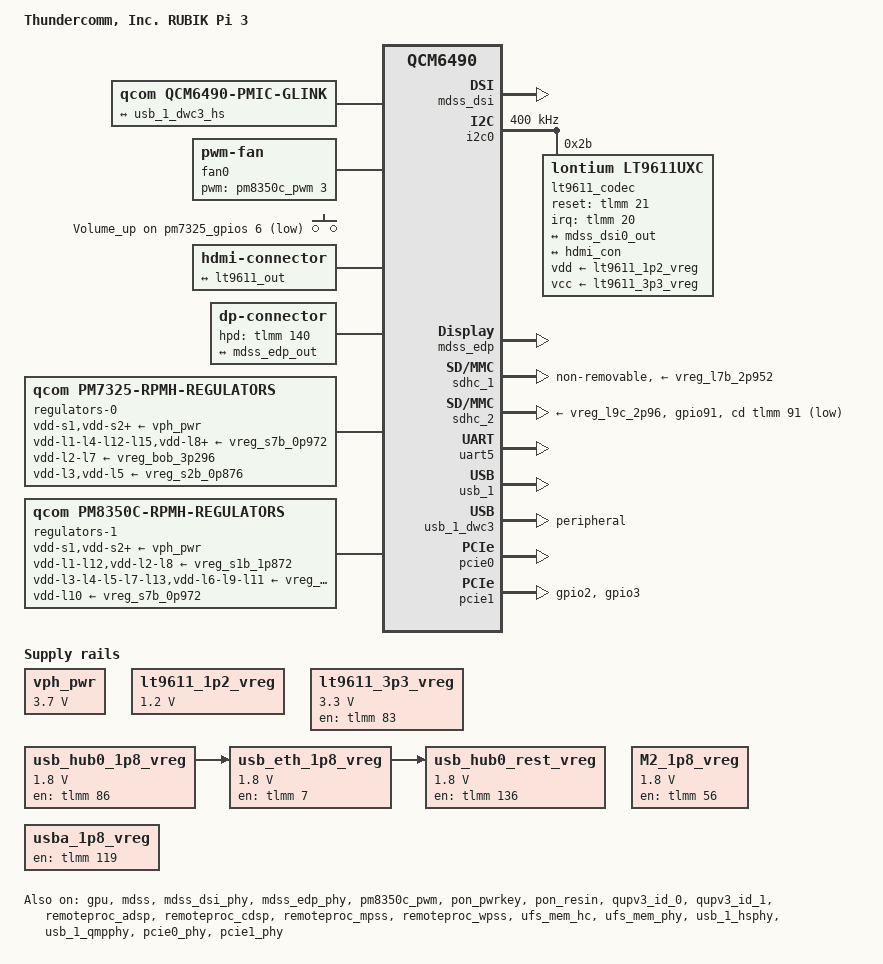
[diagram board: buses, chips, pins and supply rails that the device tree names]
// SPDX-License-Identifier: BSD-3-Clause
/*
 * Copyright (c) 2023 Qualcomm Innovation Center, Inc. All rights reserved.
 */

/dts-v1/;

/* PM7250B is configured to use SID8/9 */
#define PM7250B_SID 8
#define PM7250B_SID1 9

#include <dt-bindings/input/linux-event-codes.h>
#include <dt-bindings/leds/common.h>
#include <dt-bindings/pinctrl/qcom,pmic-gpio.h>
#include <dt-bindings/regulator/qcom,rpmh-regulator.h>
#include "sc7280.dtsi"
#include "pm7250b.dtsi"
#include "pm7325.dtsi"
#include "pm8350c.dtsi"
#include "pmk8350.dtsi"

/delete-node/ &ipa_fw_mem;
/delete-node/ &rmtfs_mem;
/delete-node/ &adsp_mem;
/delete-node/ &cdsp_mem;
/delete-node/ &video_mem;
/delete-node/ &wpss_mem;
/delete-node/ &xbl_mem;

/ {
	model = "Thundercomm, Inc. RUBIK Pi 3";
	compatible = "qcom,qcs6490-rubik-pi-3", "qcom,qcm6490";
	chassis-type = "embedded";

	aliases {
		serial0 = &uart5;
	};

	reserved-memory {
		xbl_mem: xbl@80700000 {
			reg = <0x0 0x80700000 0x0 0x100000>;
			no-map;
		};

		cdsp_secure_heap_mem: cdsp-secure-heap@81800000 {
			reg = <0x0 0x81800000 0x0 0x1e00000>;
			no-map;
		};

		camera_mem: camera@84300000 {
			reg = <0x0 0x84300000 0x0 0x500000>;
			no-map;
		};

		wpss_mem: wpss@84800000 {
			reg = <0x0 0x84800000 0x0 0x1900000>;
			no-map;
		};

		adsp_mem: adsp@86100000 {
			reg = <0x0 0x86100000 0x0 0x2800000>;
			no-map;
		};

		cdsp_mem: cdsp@88900000 {
			reg = <0x0 0x88900000 0x0 0x1e00000>;
			no-map;
		};

		video_mem: video@8a700000 {
			reg = <0x0 0x8a700000 0x0 0x700000>;
			no-map;
		};

		cvp_mem: cvp@8ae00000 {
			reg = <0x0 0x8ae00000 0x0 0x500000>;
			no-map;
		};

		ipa_fw_mem: ipa-fw@8b300000 {
			reg = <0x0 0x8b300000 0x0 0x10000>;
			no-map;
		};

		ipa_gsi_mem: ipa-gsi@8b310000 {
			reg = <0x0 0x8b310000 0x0 0xa000>;
			no-map;
		};

		gpu_microcode_mem: gpu-microcode@8b31a000 {
			reg = <0x0 0x8b31a000 0x0 0x2000>;
			no-map;
		};

		mpss_mem: mpss@8b800000 {
			reg = <0x0 0x8b800000 0x0 0xf600000>;
			no-map;
		};

		tz_stat_mem: tz-stat@c0000000 {
			reg = <0x0 0xc0000000 0x0 0x100000>;
			no-map;
		};

		tags_mem: tags@c0100000 {
			reg = <0x0 0xc0100000 0x0 0x1200000>;
			no-map;
		};

		qtee_mem: qtee@c1300000 {
			reg = <0x0 0xc1300000 0x0 0x500000>;
			no-map;
		};

		trusted_apps_mem: trusted-apps@c1800000 {
			reg = <0x0 0xc1800000 0x0 0x1c00000>;
			no-map;
		};

		debug_vm_mem: debug-vm@d0600000 {
			reg = <0x0 0xd0600000 0x0 0x100000>;
			no-map;
		};
	};

	vph_pwr: vph-pwr-regulator {
		compatible = "regulator-fixed";
		regulator-name = "vph_pwr";
		regulator-min-microvolt = <3700000>;
		regulator-max-microvolt = <3700000>;
	};

	lt9611_1p2_vreg: lt9611-1p2-vreg {
		compatible = "regulator-fixed";
		regulator-name = "lt9611_1p2_vreg";

		regulator-min-microvolt = <1200000>;
		regulator-max-microvolt = <1200000>;
	};

	lt9611_3p3_vreg: lt9611-3p3-vreg {
		compatible = "regulator-fixed";
		regulator-name = "lt9611_3p3_vreg";
		gpio = <&tlmm 83 0>;
		regulator-min-microvolt = <3300000>;
		regulator-max-microvolt = <3300000>;
		enable-active-high;
		regulator-enable-ramp-delay = <10000>;
	};

	usb_hub0_1p8_vreg: usb_hub0_1p8_vreg {
		compatible = "regulator-fixed";
		regulator-name = "usb_hub0_1p8_vreg";
		gpio = <&tlmm 86 0>;
		regulator-min-microvolt = <1800000>;
		regulator-max-microvolt = <1800000>;
		enable-active-high;
		regulator-always-on;
		regulator-enable-ramp-delay = <50000>;
	};

	usb_eth_1p8_vreg: usb_eth_1p8_vreg {
		compatible = "regulator-fixed";
		regulator-name = "usb_eth_1p8_vreg";
		gpio = <&tlmm 7 0>;
		vin-supply = <&usb_hub0_1p8_vreg>;
		regulator-min-microvolt = <1800000>;
		regulator-max-microvolt = <1800000>;
		enable-active-high;
		regulator-enable-ramp-delay = <50000>;
	};

	usb_hub0_rest_vreg: usb_hub0_rest_vreg {
		compatible = "regulator-fixed";
		regulator-name = "usb_hub0_rest_vreg";
		gpio = <&tlmm 136 0>;
		vin-supply = <&usb_eth_1p8_vreg>;
		regulator-min-microvolt = <1800000>;
		regulator-max-microvolt = <1800000>;
		enable-active-high;
		regulator-always-on;
		regulator-enable-ramp-delay = <50000>;
	};

	M2_1p8_vreg: M2_1p8_vreg {
		compatible = "regulator-fixed";
		regulator-name = "M2_1p8_vreg";
		gpio = <&tlmm 56 0>;
		regulator-min-microvolt = <1800000>;
		regulator-max-microvolt = <1800000>;
		enable-active-high;
		regulator-enable-ramp-delay = <50000>;
	};

	usba_1p8_vreg: usba_1p8_vreg {
		compatible = "regulator-fixed";
		regulator-name = "usba_1p8_vreg";
		enable-active-high;
		gpio = <&tlmm 119 GPIO_ACTIVE_HIGH>;
		regulator-enable-ramp-delay = <10000>;
	};

	pmic-glink {
		compatible = "qcom,qcm6490-pmic-glink", "qcom,pmic-glink";

		#address-cells = <1>;
		#size-cells = <0>;

		connector@0 {
			compatible = "usb-c-connector";
			reg = <0>;
			power-role = "dual";
			data-role = "dual";

			ports {
				#address-cells = <1>;
				#size-cells = <0>;

				port@0 {
					reg = <0>;

					pmic_glink_hs_in: endpoint {
						remote-endpoint = <&usb_1_dwc3_hs>;
					};
				};
			};
		};
	};

	fan0: pwm-fan {
		compatible = "pwm-fan";
		pwms = <&pm8350c_pwm 3 1000000>;
		pinctrl-names = "default";
		pinctrl-0 = <&fan_pwm_out_default>;
		#cooling-cells = <2>;
		/* level (0, 1, 2, 3, 4, 5, 6, 7) */
		cooling-levels = <160 140 120 100 80 60 40 10>;
	};

	gpio-keys {
		compatible = "gpio-keys";

		pinctrl-0 = <&key_vol_up_default>;
		pinctrl-names = "default";

		key-volume-up {
			label = "Volume_up";
			gpios = <&pm7325_gpios 6 GPIO_ACTIVE_LOW>;
			linux,code = <KEY_VOLUMEUP>;
			wakeup-source;
			debounce-interval = <15>;
			linux,can-disable;
		};
	};

	hdmi-connector {
		compatible = "hdmi-connector";
		type = "a";

		port {
			hdmi_con: endpoint {
				remote-endpoint = <&lt9611_out>;
			};
		};
	};

	dp-connector {
		compatible = "dp-connector";
		label = "DP";
		type = "type-c";

		hpd-gpios = <&tlmm 140 GPIO_ACTIVE_HIGH>;

		port {
			dp_connector_in: endpoint {
				remote-endpoint = <&mdss_edp_out>;
			};
		};
	};
};

&apps_rsc {
	regulators-0 {
		compatible = "qcom,pm7325-rpmh-regulators";
		qcom,pmic-id = "b";

		vdd-s1-supply = <&vph_pwr>;
		vdd-s2-supply = <&vph_pwr>;
		vdd-s3-supply = <&vph_pwr>;
		vdd-s4-supply = <&vph_pwr>;
		vdd-s5-supply = <&vph_pwr>;
		vdd-s6-supply = <&vph_pwr>;
		vdd-s7-supply = <&vph_pwr>;
		vdd-s8-supply = <&vph_pwr>;
		vdd-l1-l4-l12-l15-supply = <&vreg_s7b_0p972>;
		vdd-l2-l7-supply = <&vreg_bob_3p296>;
		vdd-l3-supply = <&vreg_s2b_0p876>;
		vdd-l5-supply = <&vreg_s2b_0p876>;
		vdd-l6-l9-l10-supply = <&vreg_s8b_1p272>;
		vdd-l8-supply = <&vreg_s7b_0p972>;
		vdd-l11-l17-l18-l19-supply = <&vreg_s1b_1p872>;
		vdd-l13-supply = <&vreg_s7b_0p972>;
		vdd-l14-l16-supply = <&vreg_s8b_1p272>;

		vreg_s1b_1p872: smps1 {
			regulator-name = "vreg_s1b_1p872";
			regulator-min-microvolt = <1840000>;
			regulator-max-microvolt = <2040000>;
		};

		vreg_s2b_0p876: smps2 {
			regulator-name = "vreg_s2b_0p876";
			regulator-min-microvolt = <570070>;
			regulator-max-microvolt = <1050000>;
		};

		vreg_s7b_0p972: smps7 {
			regulator-name = "vreg_s7b_0p972";
			regulator-min-microvolt = <535000>;
			regulator-max-microvolt = <1120000>;
		};

		vreg_s8b_1p272: smps8 {
			regulator-name = "vreg_s8b_1p272";
			regulator-min-microvolt = <1200000>;
			regulator-max-microvolt = <1500000>;
			regulator-initial-mode = <RPMH_REGULATOR_MODE_RET>;
		};

		vreg_l1b_0p912: ldo1 {
			regulator-name = "vreg_l1b_0p912";
			regulator-min-microvolt = <825000>;
			regulator-max-microvolt = <925000>;
			regulator-initial-mode = <RPMH_REGULATOR_MODE_HPM>;
		};

		vreg_l2b_3p072: ldo2 {
			regulator-name = "vreg_l2b_3p072";
			regulator-min-microvolt = <2700000>;
			regulator-max-microvolt = <3544000>;
			regulator-initial-mode = <RPMH_REGULATOR_MODE_HPM>;
		};

		vreg_l3b_0p504: ldo3 {
			regulator-name = "vreg_l3b_0p504";
			regulator-min-microvolt = <312000>;
			regulator-max-microvolt = <910000>;
			regulator-initial-mode = <RPMH_REGULATOR_MODE_HPM>;
		};

		vreg_l4b_0p752: ldo4 {
			regulator-name = "vreg_l4b_0p752";
			regulator-min-microvolt = <752000>;
			regulator-max-microvolt = <820000>;
			regulator-initial-mode = <RPMH_REGULATOR_MODE_HPM>;
		};

		reg_l5b_0p752: ldo5 {
			regulator-name = "reg_l5b_0p752";
			regulator-min-microvolt = <552000>;
			regulator-max-microvolt = <832000>;
			regulator-initial-mode = <RPMH_REGULATOR_MODE_HPM>;
		};

		vreg_l6b_1p2: ldo6 {
			regulator-name = "vreg_l6b_1p2";
			regulator-min-microvolt = <1140000>;
			regulator-max-microvolt = <1260000>;
			regulator-allow-set-load;
			regulator-allowed-modes = <RPMH_REGULATOR_MODE_LPM RPMH_REGULATOR_MODE_HPM>;
			regulator-initial-mode = <RPMH_REGULATOR_MODE_HPM>;
		};

		vreg_l7b_2p952: ldo7 {
			regulator-name = "vreg_l7b_2p952";
			regulator-min-microvolt = <2400000>;
			regulator-max-microvolt = <3544000>;
			regulator-allow-set-load;
			regulator-allowed-modes = <RPMH_REGULATOR_MODE_LPM RPMH_REGULATOR_MODE_HPM>;
			regulator-initial-mode = <RPMH_REGULATOR_MODE_HPM>;
		};

		vreg_l8b_0p904: ldo8 {
			regulator-name = "vreg_l8b_0p904";
			regulator-min-microvolt = <870000>;
			regulator-max-microvolt = <970000>;
			regulator-initial-mode = <RPMH_REGULATOR_MODE_HPM>;
		};

		vreg_l9b_1p2: ldo9 {
			regulator-name = "vreg_l9b_1p2";
			regulator-min-microvolt = <1200000>;
			regulator-max-microvolt = <1304000>;
			regulator-allow-set-load;
			regulator-allowed-modes = <RPMH_REGULATOR_MODE_LPM RPMH_REGULATOR_MODE_HPM>;
			regulator-initial-mode = <RPMH_REGULATOR_MODE_HPM>;
		};

		vreg_l11b_1p504: ldo11 {
			regulator-name = "vreg_l11b_1p504";
			regulator-min-microvolt = <1504000>;
			regulator-max-microvolt = <2000000>;
			regulator-initial-mode = <RPMH_REGULATOR_MODE_HPM>;
		};

		vreg_l12b_0p751: ldo12 {
			regulator-name = "vreg_l12b_0p751";
			regulator-min-microvolt = <751000>;
			regulator-max-microvolt = <824000>;
			regulator-initial-mode = <RPMH_REGULATOR_MODE_HPM>;
		};

		vreg_l13b_0p53: ldo13 {
			regulator-name = "vreg_l13b_0p53";
			regulator-min-microvolt = <530000>;
			regulator-max-microvolt = <824000>;
			regulator-initial-mode = <RPMH_REGULATOR_MODE_HPM>;
		};

		vreg_l14b_1p08: ldo14 {
			regulator-name = "vreg_l14b_1p08";
			regulator-min-microvolt = <1080000>;
			regulator-max-microvolt = <1304000>;
			regulator-initial-mode = <RPMH_REGULATOR_MODE_HPM>;
		};

		vreg_l15b_0p765: ldo15 {
			regulator-name = "vreg_l15b_0p765";
			regulator-min-microvolt = <765000>;
			regulator-max-microvolt = <1020000>;
			regulator-initial-mode = <RPMH_REGULATOR_MODE_HPM>;
		};

		vreg_l16b_1p1: ldo16 {
			regulator-name = "vreg_l16b_1p1";
			regulator-min-microvolt = <1100000>;
			regulator-max-microvolt = <1300000>;
			regulator-initial-mode = <RPMH_REGULATOR_MODE_HPM>;
		};

		vreg_l17b_1p7: ldo17 {
			regulator-name = "vreg_l17b_1p7";
			regulator-min-microvolt = <1700000>;
			regulator-max-microvolt = <1900000>;
			regulator-initial-mode = <RPMH_REGULATOR_MODE_HPM>;
		};

		vreg_l18b_1p8: ldo18 {
			regulator-name = "vreg_l18b_1p8";
			regulator-min-microvolt = <1800000>;
			regulator-max-microvolt = <2000000>;
			regulator-initial-mode = <RPMH_REGULATOR_MODE_HPM>;
		};

		vreg_l19b_1p8: ldo19 {
			regulator-name = "vreg_l19b_1p8";
			regulator-min-microvolt = <1800000>;
			regulator-max-microvolt = <2000000>;
			regulator-initial-mode = <RPMH_REGULATOR_MODE_HPM>;
			regulator-allow-set-load;
			regulator-allowed-modes = <RPMH_REGULATOR_MODE_LPM
						   RPMH_REGULATOR_MODE_HPM>;
		};
	};

	regulators-1 {
		compatible = "qcom,pm8350c-rpmh-regulators";
		qcom,pmic-id = "c";

		vdd-s1-supply = <&vph_pwr>;
		vdd-s2-supply = <&vph_pwr>;
		vdd-s3-supply = <&vph_pwr>;
		vdd-s4-supply = <&vph_pwr>;
		vdd-s5-supply = <&vph_pwr>;
		vdd-s6-supply = <&vph_pwr>;
		vdd-s7-supply = <&vph_pwr>;
		vdd-s8-supply = <&vph_pwr>;
		vdd-s9-supply = <&vph_pwr>;
		vdd-s10-supply = <&vph_pwr>;
		vdd-l1-l12-supply = <&vreg_s1b_1p872>;
		vdd-l2-l8-supply = <&vreg_s1b_1p872>;
		vdd-l3-l4-l5-l7-l13-supply = <&vreg_bob_3p296>;
		vdd-l6-l9-l11-supply = <&vreg_bob_3p296>;
		vdd-l10-supply = <&vreg_s7b_0p972>;
		vdd-bob-supply = <&vph_pwr>;

		vreg_s1c_2p19: smps1 {
			regulator-name = "vreg_s1c_2p19";
			regulator-min-microvolt = <2190000>;
			regulator-max-microvolt = <2210000>;
		};

		vreg_s2c_0p752: smps2 {
			regulator-name = "vreg_s2c_0p752";
			regulator-min-microvolt = <750000>;
			regulator-max-microvolt = <800000>;
		};

		vreg_s5c_0p752: smps5 {
			regulator-name = "vreg_s5c_0p752";
			regulator-min-microvolt = <465000>;
			regulator-max-microvolt = <1050000>;
		};

		vreg_s7c_0p752: smps7 {
			regulator-name = "vreg_s7c_0p752";
			regulator-min-microvolt = <465000>;
			regulator-max-microvolt = <800000>;
		};

		vreg_s9c_1p084: smps9 {
			regulator-name = "vreg_s9c_1p084";
			regulator-min-microvolt = <1010000>;
			regulator-max-microvolt = <1170000>;
		};

		vreg_l1c_1p8: ldo1 {
			regulator-name = "vreg_l1c_1p8";
			regulator-min-microvolt = <1800000>;
			regulator-max-microvolt = <1980000>;
			regulator-initial-mode = <RPMH_REGULATOR_MODE_HPM>;
		};

		vreg_l2c_1p62: ldo2 {
			regulator-name = "vreg_l2c_1p62";
			regulator-min-microvolt = <1620000>;
			regulator-max-microvolt = <1980000>;
			regulator-initial-mode = <RPMH_REGULATOR_MODE_HPM>;
		};

		vreg_l3c_2p8: ldo3 {
			regulator-name = "vreg_l3c_2p8";
			regulator-min-microvolt = <2800000>;
			regulator-max-microvolt = <3540000>;
			regulator-initial-mode = <RPMH_REGULATOR_MODE_HPM>;
		};

		vreg_l4c_1p62: ldo4 {
			regulator-name = "vreg_l4c_1p62";
			regulator-min-microvolt = <1620000>;
			regulator-max-microvolt = <3300000>;
			regulator-initial-mode = <RPMH_REGULATOR_MODE_HPM>;
		};

		vreg_l5c_1p62: ldo5 {
			regulator-name = "vreg_l5c_1p62";
			regulator-min-microvolt = <1620000>;
			regulator-max-microvolt = <3300000>;
			regulator-initial-mode = <RPMH_REGULATOR_MODE_HPM>;
		};

		vreg_l6c_2p96: ldo6 {
			regulator-name = "vreg_l6c_2p96";
			regulator-min-microvolt = <1650000>;
			regulator-max-microvolt = <3544000>;
			regulator-initial-mode = <RPMH_REGULATOR_MODE_HPM>;
		};

		vreg_l7c_3p0: ldo7 {
			regulator-name = "vreg_l7c_3p0";
			regulator-min-microvolt = <3000000>;
			regulator-max-microvolt = <3544000>;
			regulator-initial-mode = <RPMH_REGULATOR_MODE_HPM>;
		};

		vreg_l8c_1p62: ldo8 {
			regulator-name = "vreg_l8c_1p62";
			regulator-min-microvolt = <1620000>;
			regulator-max-microvolt = <2000000>;
			regulator-initial-mode = <RPMH_REGULATOR_MODE_HPM>;
		};

		vreg_l9c_2p96: ldo9 {
			regulator-name = "vreg_l9c_2p96";
			regulator-min-microvolt = <2700000>;
			regulator-max-microvolt = <35440000>;
			regulator-initial-mode = <RPMH_REGULATOR_MODE_HPM>;
		};

		vreg_l10c_0p88: ldo10 {
			regulator-name = "vreg_l10c_0p88";
			regulator-min-microvolt = <720000>;
			regulator-max-microvolt = <1050000>;
			regulator-allow-set-load;
			regulator-allowed-modes = <RPMH_REGULATOR_MODE_LPM RPMH_REGULATOR_MODE_HPM>;
			regulator-initial-mode = <RPMH_REGULATOR_MODE_HPM>;
		};

		vreg_l11c_2p8: ldo11 {
			regulator-name = "vreg_l11c_2p8";
			regulator-min-microvolt = <2800000>;
			regulator-max-microvolt = <3544000>;
			regulator-initial-mode = <RPMH_REGULATOR_MODE_HPM>;
		};

		vreg_l12c_1p65: ldo12 {
			regulator-name = "vreg_l12c_1p65";
			regulator-min-microvolt = <1650000>;
			regulator-max-microvolt = <2000000>;
			regulator-initial-mode = <RPMH_REGULATOR_MODE_HPM>;
		};

		vreg_l13c_2p7: ldo13 {
			regulator-name = "vreg_l13c_2p7";
			regulator-min-microvolt = <2700000>;
			regulator-max-microvolt = <3544000>;
			regulator-initial-mode = <RPMH_REGULATOR_MODE_HPM>;
		};

		vreg_bob_3p296: bob {
			regulator-name = "vreg_bob_3p296";
			regulator-min-microvolt = <3008000>;
			regulator-max-microvolt = <3960000>;
		};
	};
};

&gpu {
	status = "okay";
};

&gpu_zap_shader {
	firmware-name = "qcom/qcm6490/a660_zap.mbn";
};

&mdss {
	status = "okay";
};

&mdss_dsi {
	vdda-supply = <&vreg_l6b_1p2>;
	status = "okay";

};

&mdss_dsi0_out {
	remote-endpoint = <&lt9611_a>;
	data-lanes = <0 1 2 3>;
};

&mdss_dsi_phy {
	vdds-supply = <&vreg_l10c_0p88>;
	status = "okay";
};

&mdss_dsi_phy {
	vdds-supply = <&vreg_l10c_0p88>;
	status = "okay";
};

&i2c0 {
	clock-frequency = <400000>;
	status = "okay";

	lt9611_codec: hdmi-bridge@2b {
		compatible = "lontium,lt9611uxc";
		reg = <0x2b>;

		interrupts-extended = <&tlmm 20 IRQ_TYPE_EDGE_FALLING>;
		reset-gpios = <&tlmm 21 GPIO_ACTIVE_HIGH>;

		vdd-supply = <&lt9611_1p2_vreg>;
		vcc-supply = <&lt9611_3p3_vreg>;

		pinctrl-names = "default";
		pinctrl-0 = <&lt9611_irq_pin &lt9611_rst_pin>;

		ports {
			#address-cells = <1>;
			#size-cells = <0>;

			port@0 {
				reg = <0>;

				lt9611_a: endpoint {
					remote-endpoint = <&mdss_dsi0_out>;
				};
			};

			port@2 {
				reg = <2>;

				lt9611_out: endpoint {
					remote-endpoint = <&hdmi_con>;
				};
			};
		};
	};
};

&mdss_edp {
	status = "okay";
};

&mdss_edp_out {
	data-lanes = <0 1 2 3>;
	link-frequencies = /bits/ 64 <1620000000 2700000000 5400000000 8100000000>;

	remote-endpoint = <&dp_connector_in>;
};

&mdss_edp_phy {
	status = "okay";
};

&pm8350c_gpios {
	fan_pwm_out_default: fan_pwm_out_default {
		pins = "gpio8";
		function = "func1";
		power-source = <1>;
		drive-push-pull;
		output-high;
		qcom,drive-strength = <3>;
	};
};

&pm7325_gpios {
	key_vol_up_default: key-vol-up-state {
		pins = "gpio6";
		function = "normal";
		input-enable;
		bias-pull-up;
		qcom,drive-strength = <PMIC_GPIO_STRENGTH_LOW>;
	};
};

&pm8350c_pwm {
	status = "okay";

	multi-led {
		color = <LED_COLOR_ID_RGB>;
		function = LED_FUNCTION_STATUS;

		#address-cells = <1>;
		#size-cells = <0>;

		led@1 {
			reg = <1>;
			color = <LED_COLOR_ID_RED>;
		};

		led@2 {
			reg = <2>;
			color = <LED_COLOR_ID_GREEN>;
		};

		led@3 {
			reg = <3>;
			color = <LED_COLOR_ID_BLUE>;
		};
	};
};

&thermal_zones {
	cpu0-thermal {
		trips {
			cpu0_alert1: trip-point1 {
			temperature = <95000>;
			hysteresis = <2000>;
			type = "hot";
			};

			cpu0_fan0: trip-point2 {
			temperature = <50000>;
			hysteresis = <2000>;
			type = "active";
			};

			cpu0_fan1: trip-point3 {
			temperature = <55000>;
			hysteresis = <2000>;
			type = "active";
			};

			cpu0_fan2: trip-point4 {
			temperature = <60000>;
			hysteresis = <2000>;
			type = "active";
			};

			cpu0_fan3: trip-point5 {
			temperature = <65000>;
			hysteresis = <2000>;
			type = "active";
			};

			cpu0_fan4: trip-point6 {
			temperature = <70000>;
			hysteresis = <2000>;
			type = "active";
			};

			cpu0_fan5: trip-point7 {
			temperature = <75000>;
			hysteresis = <2000>;
			type = "active";
			};

			cpu0_fan6: trip-point8 {
			temperature = <80000>;
			hysteresis = <2000>;
			type = "active";
			};
		};

		cooling-maps {
			map0 {
			trip = <&cpu0_fan0>;
			cooling-device = <&fan0 0 1>;
			};
			map1 {
			trip = <&cpu0_fan1>;
			cooling-device = <&fan0 1 2>;
			};
			map2 {
			trip = <&cpu0_fan2>;
			cooling-device = <&fan0 2 3>;
			};
			map3 {
			trip = <&cpu0_fan3>;
			cooling-device = <&fan0 3 4>;
			};
			map4 {
			trip = <&cpu0_fan4>;
			cooling-device = <&fan0 4 5>;
			};
			map5 {
			trip = <&cpu0_fan5>;
			cooling-device = <&fan0 5 6>;
			};
			map6 {
			trip = <&cpu0_fan6>;
			cooling-device = <&fan0 6 7>;
			};
		};
	};

	cpu1-thermal {
		trips {
			cpu1_alert1: trip-point1 {
			temperature = <95000>;
			hysteresis = <2000>;
			type = "hot";
			};

			cpu1_fan0: trip-point2 {
			temperature = <50000>;
			hysteresis = <2000>;
			type = "active";
			};

			cpu1_fan1: trip-point3 {
			temperature = <55000>;
			hysteresis = <2000>;
			type = "active";
			};

			cpu1_fan2: trip-point4 {
			temperature = <60000>;
			hysteresis = <2000>;
			type = "active";
			};

			cpu1_fan3: trip-point5 {
			temperature = <65000>;
			hysteresis = <2000>;
			type = "active";
			};

			cpu1_fan4: trip-point6 {
			temperature = <70000>;
			hysteresis = <2000>;
			type = "active";
			};

			cpu1_fan5: trip-point7 {
			temperature = <75000>;
			hysteresis = <2000>;
			type = "active";
			};

			cpu1_fan6: trip-point8 {
			temperature = <80000>;
			hysteresis = <2000>;
			type = "active";
			};
		};

		cooling-maps {
			map0 {
			trip = <&cpu1_fan0>;
			cooling-device = <&fan0 0 1>;
			};
			map1 {
			trip = <&cpu1_fan1>;
			cooling-device = <&fan0 1 2>;
			};
			map2 {
			trip = <&cpu1_fan2>;
			cooling-device = <&fan0 2 3>;
			};
			map3 {
			trip = <&cpu1_fan3>;
			cooling-device = <&fan0 3 4>;
			};
			map4 {
			trip = <&cpu1_fan4>;
			cooling-device = <&fan0 4 5>;
			};
			map5 {
			trip = <&cpu1_fan5>;
			cooling-device = <&fan0 5 6>;
			};
			map6 {
			trip = <&cpu1_fan6>;
			cooling-device = <&fan0 6 7>;
			};
		};
	};

	cpu2-thermal {
		trips {
			cpu2_alert1: trip-point1 {
			temperature = <95000>;
			hysteresis = <2000>;
			type = "hot";
			};

			cpu2_fan0: trip-point2 {
			temperature = <50000>;
			hysteresis = <2000>;
			type = "active";
			};

			cpu2_fan1: trip-point3 {
			temperature = <55000>;
			hysteresis = <2000>;
			type = "active";
			};

			cpu2_fan2: trip-point4 {
			temperature = <60000>;
			hysteresis = <2000>;
			type = "active";
			};

			cpu2_fan3: trip-point5 {
			temperature = <65000>;
			hysteresis = <2000>;
			type = "active";
			};

			cpu2_fan4: trip-point6 {
			temperature = <70000>;
			hysteresis = <2000>;
			type = "active";
			};

			cpu2_fan5: trip-point7 {
			temperature = <75000>;
			hysteresis = <2000>;
			type = "active";
			};

			cpu2_fan6: trip-point8 {
			temperature = <80000>;
			hysteresis = <2000>;
			type = "active";
			};
		};

		cooling-maps {
			map0 {
			trip = <&cpu2_fan0>;
			cooling-device = <&fan0 0 1>;
			};
			map1 {
			trip = <&cpu2_fan1>;
			cooling-device = <&fan0 1 2>;
			};
			map2 {
			trip = <&cpu2_fan2>;
			cooling-device = <&fan0 2 3>;
			};
			map3 {
			trip = <&cpu2_fan3>;
			cooling-device = <&fan0 3 4>;
			};
			map4 {
			trip = <&cpu2_fan4>;
			cooling-device = <&fan0 4 5>;
			};
			map5 {
			trip = <&cpu2_fan5>;
			cooling-device = <&fan0 5 6>;
			};
			map6 {
			trip = <&cpu2_fan6>;
			cooling-device = <&fan0 6 7>;
			};
		};
	};

	cpu3-thermal {
		trips {
			cpu3_alert1: trip-point1 {
			temperature = <95000>;
			hysteresis = <2000>;
			type = "hot";
			};

			cpu3_fan0: trip-point2 {
			temperature = <50000>;
			hysteresis = <2000>;
			type = "active";
			};

			cpu3_fan1: trip-point3 {
			temperature = <55000>;
			hysteresis = <2000>;
			type = "active";
			};

			cpu3_fan2: trip-point4 {
			temperature = <60000>;
			hysteresis = <2000>;
			type = "active";
			};

			cpu3_fan3: trip-point5 {
			temperature = <65000>;
			hysteresis = <2000>;
			type = "active";
			};

			cpu3_fan4: trip-point6 {
			temperature = <70000>;
			hysteresis = <2000>;
			type = "active";
			};

			cpu3_fan5: trip-point7 {
			temperature = <75000>;
			hysteresis = <2000>;
			type = "active";
			};

			cpu3_fan6: trip-point8 {
			temperature = <80000>;
			hysteresis = <2000>;
			type = "active";
			};
		};

		cooling-maps {
			map0 {
			trip = <&cpu3_fan0>;
			cooling-device = <&fan0 0 1>;
			};
			map1 {
			trip = <&cpu3_fan1>;
			cooling-device = <&fan0 1 2>;
			};
			map2 {
			trip = <&cpu3_fan2>;
			cooling-device = <&fan0 2 3>;
			};
			map3 {
			trip = <&cpu3_fan3>;
			cooling-device = <&fan0 3 4>;
			};
			map4 {
			trip = <&cpu3_fan4>;
			cooling-device = <&fan0 4 5>;
			};
			map5 {
			trip = <&cpu3_fan5>;
			cooling-device = <&fan0 5 6>;
			};
			map6 {
			trip = <&cpu3_fan6>;
			cooling-device = <&fan0 6 7>;
			};
		};
	};

	cpu4-thermal {
		trips {
			cpu4_alert1: trip-point1 {
			temperature = <95000>;
			hysteresis = <2000>;
			type = "hot";
			};

			cpu4_fan0: trip-point2 {
			temperature = <50000>;
			hysteresis = <2000>;
			type = "active";
			};

			cpu4_fan1: trip-point3 {
			temperature = <55000>;
			hysteresis = <2000>;
			type = "active";
			};

			cpu4_fan2: trip-point4 {
			temperature = <60000>;
			hysteresis = <2000>;
			type = "active";
			};

			cpu4_fan3: trip-point5 {
			temperature = <65000>;
			hysteresis = <2000>;
			type = "active";
			};

			cpu4_fan4: trip-point6 {
			temperature = <70000>;
			hysteresis = <2000>;
			type = "active";
			};

			cpu4_fan5: trip-point7 {
			temperature = <75000>;
			hysteresis = <2000>;
			type = "active";
			};

			cpu4_fan6: trip-point8 {
			temperature = <80000>;
			hysteresis = <2000>;
			type = "active";
			};
		};

		cooling-maps {
			map0 {
			trip = <&cpu4_fan0>;
			cooling-device = <&fan0 0 1>;
			};
			map1 {
			trip = <&cpu4_fan1>;
			cooling-device = <&fan0 1 2>;
			};
			map2 {
			trip = <&cpu4_fan2>;
			cooling-device = <&fan0 2 3>;
			};
			map3 {
			trip = <&cpu4_fan3>;
			cooling-device = <&fan0 3 4>;
			};
			map4 {
			trip = <&cpu4_fan4>;
			cooling-device = <&fan0 4 5>;
			};
			map5 {
			trip = <&cpu4_fan5>;
			cooling-device = <&fan0 5 6>;
			};
			map6 {
			trip = <&cpu4_fan6>;
			cooling-device = <&fan0 6 7>;
			};
		};
	};

	cpu5-thermal {
		trips {
			cpu5_alert1: trip-point1 {
			temperature = <95000>;
			hysteresis = <2000>;
			type = "hot";
			};

			cpu5_fan0: trip-point2 {
			temperature = <50000>;
			hysteresis = <2000>;
			type = "active";
			};

			cpu5_fan1: trip-point3 {
			temperature = <55000>;
			hysteresis = <2000>;
			type = "active";
			};

			cpu5_fan2: trip-point4 {
			temperature = <60000>;
			hysteresis = <2000>;
			type = "active";
			};

			cpu5_fan3: trip-point5 {
			temperature = <65000>;
			hysteresis = <2000>;
			type = "active";
			};

			cpu5_fan4: trip-point6 {
			temperature = <70000>;
			hysteresis = <2000>;
			type = "active";
			};

			cpu5_fan5: trip-point7 {
			temperature = <75000>;
			hysteresis = <2000>;
			type = "active";
			};

			cpu5_fan6: trip-point8 {
			temperature = <80000>;
			hysteresis = <2000>;
			type = "active";
			};
		};

		cooling-maps {
			map0 {
			trip = <&cpu5_fan0>;
			cooling-device = <&fan0 0 1>;
			};
			map1 {
			trip = <&cpu5_fan1>;
			cooling-device = <&fan0 1 2>;
			};
			map2 {
			trip = <&cpu5_fan2>;
			cooling-device = <&fan0 2 3>;
			};
			map3 {
			trip = <&cpu5_fan3>;
			cooling-device = <&fan0 3 4>;
			};
			map4 {
			trip = <&cpu5_fan4>;
			cooling-device = <&fan0 4 5>;
			};
			map5 {
			trip = <&cpu5_fan5>;
			cooling-device = <&fan0 5 6>;
			};
			map6 {
			trip = <&cpu5_fan6>;
			cooling-device = <&fan0 6 7>;
			};
		};
	};

	cpu6-thermal {
		trips {
			cpu6_alert1: trip-point1 {
			temperature = <95000>;
			hysteresis = <2000>;
			type = "hot";
			};

			cpu6_fan0: trip-point2 {
			temperature = <50000>;
			hysteresis = <2000>;
			type = "active";
			};

			cpu6_fan1: trip-point3 {
			temperature = <55000>;
			hysteresis = <2000>;
			type = "active";
			};

			cpu6_fan2: trip-point4 {
			temperature = <60000>;
			hysteresis = <2000>;
			type = "active";
			};

			cpu6_fan3: trip-point5 {
			temperature = <65000>;
			hysteresis = <2000>;
			type = "active";
			};

			cpu6_fan4: trip-point6 {
			temperature = <70000>;
			hysteresis = <2000>;
			type = "active";
			};

			cpu6_fan5: trip-point7 {
			temperature = <75000>;
			hysteresis = <2000>;
			type = "active";
			};

			cpu6_fan6: trip-point8 {
			temperature = <80000>;
			hysteresis = <2000>;
			type = "active";
			};
		};

		cooling-maps {
			map0 {
			trip = <&cpu6_fan0>;
			cooling-device = <&fan0 0 1>;
			};
			map1 {
			trip = <&cpu6_fan1>;
			cooling-device = <&fan0 1 2>;
			};
			map2 {
			trip = <&cpu6_fan2>;
			cooling-device = <&fan0 2 3>;
			};
			map3 {
			trip = <&cpu6_fan3>;
			cooling-device = <&fan0 3 4>;
			};
			map4 {
			trip = <&cpu6_fan4>;
			cooling-device = <&fan0 4 5>;
			};
			map5 {
			trip = <&cpu6_fan5>;
			cooling-device = <&fan0 5 6>;
			};
			map6 {
			trip = <&cpu6_fan6>;
			cooling-device = <&fan0 6 7>;
			};
		};
	};

	cpu7-thermal {
		trips {
			cpu7_alert1: trip-point1 {
			temperature = <95000>;
			hysteresis = <2000>;
			type = "hot";
			};

			cpu7_fan0: trip-point2 {
			temperature = <50000>;
			hysteresis = <2000>;
			type = "active";
			};

			cpu7_fan1: trip-point3 {
			temperature = <55000>;
			hysteresis = <2000>;
			type = "active";
			};

			cpu7_fan2: trip-point4 {
			temperature = <60000>;
			hysteresis = <2000>;
			type = "active";
			};

			cpu7_fan3: trip-point5 {
			temperature = <65000>;
			hysteresis = <2000>;
			type = "active";
			};

			cpu7_fan4: trip-point6 {
			temperature = <70000>;
			hysteresis = <2000>;
			type = "active";
			};

			cpu7_fan5: trip-point7 {
			temperature = <75000>;
			hysteresis = <2000>;
			type = "active";
			};

			cpu7_fan6: trip-point8 {
			temperature = <80000>;
			hysteresis = <2000>;
			type = "active";
			};
		};

		cooling-maps {
			map0 {
			trip = <&cpu7_fan0>;
			cooling-device = <&fan0 0 1>;
			};
			map1 {
			trip = <&cpu7_fan1>;
			cooling-device = <&fan0 1 2>;
			};
			map2 {
			trip = <&cpu7_fan2>;
			cooling-device = <&fan0 2 3>;
			};
			map3 {
			trip = <&cpu7_fan3>;
			cooling-device = <&fan0 3 4>;
			};
			map4 {
			trip = <&cpu7_fan4>;
			cooling-device = <&fan0 4 5>;
			};
			map5 {
			trip = <&cpu7_fan5>;
			cooling-device = <&fan0 5 6>;
			};
			map6 {
			trip = <&cpu7_fan6>;
			cooling-device = <&fan0 6 7>;
			};
		};
	};
};

&pon_pwrkey {
	status = "okay";
};

&pon_resin {
	linux,code = <KEY_VOLUMEDOWN>;
	status = "okay";
};

&qupv3_id_0 {
	status = "okay";
};

&qupv3_id_1 {
	status = "okay";
};

&remoteproc_adsp {
	firmware-name = "qcom/qcm6490/adsp.mbn";
	status = "okay";
};

&remoteproc_cdsp {
	firmware-name = "qcom/qcm6490/cdsp.mbn";
	status = "okay";
};

&remoteproc_mpss {
	firmware-name = "qcom/qcm6490/modem.mbn";
	status = "okay";
};

&remoteproc_wpss {
	firmware-name = "qcom/qcm6490/wpss.mbn";
	status = "okay";
};

&sdc2_clk {
	bias-disable;
	drive-strength = <16>;
};

&sdc2_cmd {
	bias-pull-up;
	drive-strength = <10>;
};

&sdc2_data {
	bias-pull-up;
	drive-strength = <10>;
};

&sdhc_1 {
	non-removable;
	no-sd;
	no-sdio;

	vmmc-supply = <&vreg_l7b_2p952>;
	vqmmc-supply = <&vreg_l19b_1p8>;

	status = "okay";
};

&sdhc_2 {
	status = "okay";

	pinctrl-0 = <&sdc2_clk>, <&sdc2_cmd>, <&sdc2_data>, <&sd_cd>;
	pinctrl-1 = <&sdc2_clk_sleep>, <&sdc2_cmd_sleep>, <&sdc2_data_sleep>, <&sd_cd>;

	vmmc-supply = <&vreg_l9c_2p96>;
	vqmmc-supply = <&vreg_l6c_2p96>;

	cd-gpios = <&tlmm 91 GPIO_ACTIVE_LOW>;
};

&tlmm {
	/delete-property/ gpio-reserved-ranges;

	gpio4_active: gpio4_active {
		pins = "gpio4";
		function = "gpio";
		drive-strength = <2>;
		bias-disable;
	};

	gpio5_active: gpio5_active {
		pins = "gpio5";
		function = "gpio";
		drive-strength = <2>;
		bias-disable;
	};

	gpio8_active: gpio8_active {
		pins = "gpio8";
		function = "gpio";
		drive-strength = <2>;
		bias-disable;
	};

	gpio9_active: gpio9_active {
		pins = "gpio9";
		function = "gpio";
		drive-strength = <2>;
		bias-disable;
	};

	gpio10_active: gpio10_active {
		pins = "gpio10";
		function = "gpio";
		drive-strength = <2>;
		bias-disable;
	};

	gpio11_active: gpio11_active {
		pins = "gpio11";
		function = "gpio";
		drive-strength = <2>;
		bias-disable;
	};

	qup_uart2_rx: qup-uart2-rx-state {
		pins = "gpio11";
		function = "qup02";
		bias-disable;
	};

	gpio12_active: gpio12_active {
		pins = "gpio12";
		function = "gpio";
		drive-strength = <2>;
		bias-disable;
	};

	wifi_reset_active: wifi_reset_active {
		pins = "gpio16";
		function = "gpio";
		drive-strength = <2>;
		output-high;
		bias-disable;
	};

	lt9611_irq_pin: lt9611-irq-state {
		pins = "gpio20";
		function = "gpio";
		drive-strength = <2>;
		bias-disable;
	};

	lt9611_rst_pin: lt9611-rst-state {
		pins = "gpio21";
		function = "gpio";
		drive-strength = <2>;
		bias-disable;
		output-high;
	};

	gpio24_active: gpio24_active {
		pins = "gpio24";
		function = "gpio";
		drive-strength = <2>;
		bias-disable;
	};

	gpio25_active: gpio25_active {
		pins = "gpio25";
		function = "gpio";
		drive-strength = <2>;
		bias-disable;
	};

	gpio24_active: gpio24_active {
		pins = "gpio24";
		function = "gpio";
		drive-strength = <2>;
		bias-disable;
	};

	gpio25_active: gpio25_active {
		pins = "gpio25";
		function = "gpio";
		drive-strength = <2>;
		bias-disable;
	};

	gpio26_active: gpio26_active {
		pins = "gpio26";
		function = "gpio";
		drive-strength = <2>;
		bias-disable;
	};

	gpio27_active: gpio27_active {
		pins = "gpio27";
		function = "gpio";
		drive-strength = <2>;
		bias-disable;
	};

	gpio32_active: gpio32_active {
		pins = "gpio32";
		function = "gpio";
		drive-strength = <2>;
		bias-disable;
	};

	gpio33_active: gpio33_active {
		pins = "gpio33";
		function = "gpio";
		drive-strength = <2>;
		bias-disable;
	};

	gpio34_active: gpio34_active {
		pins = "gpio34";
		function = "gpio";
		drive-strength = <2>;
		bias-disable;
	};

	gpio35_active: gpio35_active {
		pins = "gpio35";
		function = "gpio";
		drive-strength = <2>;
		bias-disable;
	};

	gpio44_active: gpio44_active {
		pins = "gpio44";
		function = "gpio";
		drive-strength = <2>;
		bias-disable;
	};

	gpio48_active: gpio48_active {
		pins = "gpio48";
		function = "gpio";
		drive-strength = <2>;
		bias-disable;
	};

	gpio49_active: gpio49_active {
		pins = "gpio49";
		function = "gpio";
		drive-strength = <2>;
		bias-disable;
	};

	gpio50_active: gpio50_active {
		pins = "gpio50";
		function = "gpio";
		drive-strength = <2>;
		bias-disable;
	};

	gpio51_active: gpio51_active {
		pins = "gpio51";
		function = "gpio";
		drive-strength = <2>;
		bias-disable;
	};

	gpio55_active: gpio55_active {
		pins = "gpio55";
		function = "gpio";
		drive-strength = <2>;
		bias-disable;
	};

	sd_cd: sd-cd-state {
		pins = "gpio91";
		function = "gpio";
		bias-pull-up;
	};

	gpio101_active: gpio101_active {
		pins = "gpio101";
		function = "gpio";
		drive-strength = <2>;
		bias-disable;
	};

	gpio102_active: gpio102_active {
		pins = "gpio102";
		function = "gpio";
		drive-strength = <2>;
		bias-disable;
	};

	gpio103_active: gpio103_active {
		pins = "gpio103";
		function = "gpio";
		drive-strength = <2>;
		bias-disable;
	};

	gpio104_active: gpio104_active {
		pins = "gpio104";
		function = "gpio";
		drive-strength = <2>;
		bias-disable;
	};

	gpio105_active: gpio105_active {
		pins = "gpio105";
		function = "gpio";
		drive-strength = <2>;
		bias-disable;
	};

	pcie1_wake_n: pcie1-wake-n-state {
		pins = "gpio3";
		function = "gpio";
		drive-strength = <2>;
		bias-pull-up;
	};

	pcie1_clkreq_n: pcie1-clkreq-n-state {
		pins = "gpio79";
		function = "pcie1_clkreqn";
		drive-strength = <2>;
		bias-pull-up;
	};

	pcie1_reset_n: pcie1-reset-n-state {
		pins = "gpio2";
		function = "gpio";
		drive-strength = <16>;
		output-high;
		bias-disable;
	};

	mi2s2_data0: mi2s2-data0-state {
		pins = "gpio102";
		function = "mi2s2_data0";
	};

	mi2s2_data1: mi2s2-data1-state {
		pins = "gpio104";
		function = "mi2s2_data1";
	};

	mi2s2_sclk: mi2s2-sclk-state {
		pins = "gpio101";
		function = "mi2s2_sck";
	};

	mi2s2_ws: mi2s2-ws-state {
		pins = "gpio103";
		function = "mi2s2_ws";
	};

	mi2s2_data0_sleep: mi2s2-data0-sleep {
		pins = "gpio102";
		function = "gpio";
		drive-strength = <2>;
		bias-pull-down;
		input-enable;
	};

	mi2s2_data1_sleep: mi2s2-data1-sleep {
		pins = "gpio104";
		function = "gpio";
		drive-strength = <2>;
		bias-pull-down;
		input-enable;
	};

	mi2s2_sclk_sleep: mi2s2-sclk-sleep {
		pins = "gpio101";
		function = "gpio";
		drive-strength = <2>;
		bias-pull-down;
		input-enable;
	};

	mi2s2_ws_sleep: mi2s2-ws-sleep {
		pins = "gpio103";
		function = "gpio";
		drive-strength = <2>;
		bias-pull-down;
		input-enable;
	};

	mi2s1_data0_sleep: mi2s1-data0-sleep {
		pins = "gpio107";
		function = "gpio";
		drive-strength = <2>;
		bias-pull-down;
		input-enable;
	};

	mi2s1_data1_sleep: mi2s1-data1-sleep {
		pins = "gpio105";
		function = "gpio";
		drive-strength = <2>;
		bias-pull-down;
		input-enable;
	};

	mi2s1_sclk_sleep: mi2s1-sclk-sleep {
		pins = "gpio106";
		function = "gpio";
		drive-strength = <2>;
		bias-pull-down;
		input-enable;
	};

	mi2s1_ws_sleep: mi2s1-ws-sleep {
		pins = "gpio108";
		function = "gpio";
		drive-strength = <2>;
		bias-pull-down;
		input-enable;
	};

	mi2s1_data0: mi2s1-data0-state {
		pins = "gpio107";
		function = "mi2s1_data0";
	};

	mi2s1_data1: mi2s1-data1-state {
		pins = "gpio105";
		function = "mi2s1_data1";
	};

	mi2s1_sclk: mi2s1-sclk-state {
		pins = "gpio106";
		function = "mi2s1_sck";
	};

	mi2s1_ws: mi2s1-ws-state {
		pins = "gpio108";
		function = "mi2s1_ws";
	};

	io_level_selection_3v3: io_level_selection_3v3 {
		pins = "gpio14";
		function = "gpio";
		drive-strength = <2>;
		output-high;
		bias-disable;
	};

	io_level_selection_5v0: io_level_selection_5v0 {
		pins = "gpio40";
		function = "gpio";
		drive-strength = <2>;
		output-high;
		bias-disable;
	};
};

&lpass_tlmm {
	/delete-node/ dmic45-data-state;
	/delete-node/ dmic45-clk-state;

	lpass_ext_mas_clk1_a: ext-master-clk1-a-state {
		pins = "gpio13";
		function = "ext_mas_clk1_a";
	};

	lpass_ext_mas_clk1_a_sleep: ext-master-clk1-a-sleep {
		pins = "gpio13";
		function = "ext_mas_clk1_a";
		drive-strength = <2>;
		bias-pull-down;
		input-enable;
	};

	lpass_qua_mi2s_sclk: qua-mi2s-sclk-state {
		pins = "gpio0";
		function = "qua_mi2s_sclk";
	};

	lpass_qua_mi2s_sclk_sleep: qua-mi2s-sclk-sleep {
		pins = "gpio0";
		function = "qua_mi2s_sclk";
		drive-strength = <2>;
		bias-pull-down;
		input-enable;
	};

	lpass_qua_mi2s_ws: qua-mi2s-ws-state {
		pins = "gpio1";
		function = "qua_mi2s_ws";
	};

	lpass_qua_mi2s_ws_sleep: qua-mi2s-ws-sleep {
		pins = "gpio1";
		function = "qua_mi2s_ws";
		drive-strength = <2>;
		bias-pull-down;
		input-enable;
	};

	lpass_qua_mi2s_data0: qua-mi2s-data0-state {
		pins = "gpio2";
		function = "qua_mi2s_data";
	};

	lpass_qua_mi2s_data0_sleep: qua-mi2s-data0-sleep {
		pins = "gpio2";
		function = "qua_mi2s_data";
		drive-strength = <2>;
		bias-pull-down;
		input-enable;
	};

	lpass_qua_mi2s_data1: qua-mi2s-data1-state {
		pins = "gpio3";
		function = "qua_mi2s_data";
	};

	lpass_qua_mi2s_data1_sleep: qua-mi2s-data1-sleep {
		pins = "gpio3";
		function = "qua_mi2s_data";
		drive-strength = <2>;
		bias-pull-down;
		input-enable;
	};

	lpass_qua_mi2s_data2: qua-mi2s-data2-state {
		pins = "gpio4";
		function = "qua_mi2s_data";
	};

	lpass_qua_mi2s_data2_sleep: qua-mi2s-data2-sleep {
		pins = "gpio4";
		function = "qua_mi2s_data";
		drive-strength = <2>;
		bias-pull-down;
		input-enable;
	};

	lpass_qua_mi2s_data3: qua-mi2s-data3-state {
		pins = "gpio5";
		function = "qua_mi2s_data";
	};

	lpass_qua_mi2s_data3_sleep: qua-mi2s-data3-sleep {
		pins = "gpio5";
		function = "qua_mi2s_data";
		drive-strength = <2>;
		bias-pull-down;
		input-enable;
	};

	lpass_lpi_i2s1_clk: lpi-i2s1-clk-state {
		pins = "gpio6";
		function = "i2s1_clk";
	};

	lpass_lpi_i2s1_ws: lpi-i2s1-ws-state {
		pins = "gpio7";
		function = "i2s1_ws";
	};

	lpass_lpi_i2s1_data0: lpi-i2s1-data0-state {
		pins = "gpio8";
		function = "i2s1_data";
	};

	lpass_lpi_i2s1_data1: lpi-i2s1-data1-state {
		pins = "gpio9";
		function = "i2s1_data";
	};

	lpass_lpi_i2s1_clk_sleep: lpi-i2s1-clk-sleep {
		pins = "gpio6";
		function = "i2s1_clk";
		drive-strength = <2>;
		bias-pull-down;
		input-enable;
	};

	lpass_lpi_i2s1_ws_sleep: lpi-i2s1-ws-sleep {
		pins = "gpio7";
		function = "i2s1_ws";
		drive-strength = <2>;
		bias-pull-down;
		input-enable;
	};

	lpass_lpi_i2s1_data0_sleep: lpi-i2s1-data0-sleep {
		pins = "gpio8";
		function = "i2s1_data";
		drive-strength = <2>;
		bias-pull-down;
		input-enable;
	};

	lpass_lpi_i2s1_data1_sleep: lpi-i2s1-data1-sleep {
		pins = "gpio9";
		function = "i2s1_data";
		drive-strength = <2>;
		bias-pull-down;
		input-enable;
	};
};

&gcc {
	protected-clocks = <GCC_CFG_NOC_LPASS_CLK>,
			   <GCC_MSS_CFG_AHB_CLK>,
			   <GCC_MSS_GPLL0_MAIN_DIV_CLK_SRC>,
			   <GCC_MSS_OFFLINE_AXI_CLK>,
			   <GCC_MSS_Q6SS_BOOT_CLK_SRC>,
			   <GCC_MSS_Q6_MEMNOC_AXI_CLK>,
			   <GCC_MSS_SNOC_AXI_CLK>,
			   <GCC_QSPI_CNOC_PERIPH_AHB_CLK>,
			   <GCC_QSPI_CORE_CLK>,
			   <GCC_QSPI_CORE_CLK_SRC>,
			   <GCC_SEC_CTRL_CLK_SRC>,
			   <GCC_WPSS_AHB_BDG_MST_CLK>,
			   <GCC_WPSS_AHB_CLK>,
			   <GCC_WPSS_RSCP_CLK>;
};

&uart5 {
	status = "okay";
};

&ufs_mem_hc {
	reset-gpios = <&tlmm 175 GPIO_ACTIVE_LOW>;
	vcc-supply = <&vreg_l7b_2p952>;
	vcc-max-microamp = <800000>;
	vccq-supply = <&vreg_l9b_1p2>;
	vccq-max-microamp = <900000>;
	vccq2-supply = <&vreg_l9b_1p2>;
	vccq2-max-microamp = <900000>;

	status = "okay";
};

&ufs_mem_phy {
	vdda-phy-supply = <&vreg_l10c_0p88>;
	vdda-pll-supply = <&vreg_l6b_1p2>;

	status = "okay";
};

&usb_1 {
	status = "okay";
};

&usb_1_dwc3 {
	/delete-property/ usb-role-switch;
	dr_mode = "peripheral";
};

&usb_1_hsphy {
	vdda-pll-supply = <&vreg_l10c_0p88>;
	vdda33-supply = <&vreg_l2b_3p072>;
	vdda18-supply = <&vreg_l1c_1p8>;

	status = "okay";
};

&usb_1_qmpphy {
	vdda-phy-supply = <&vreg_l6b_1p2>;
	vdda-pll-supply = <&vreg_l1b_0p912>;

	status = "okay";
};

&pcie0_phy {
	vdda-phy-supply = <&vreg_l10c_0p88>;
	vdda-pll-supply = <&vreg_l6b_1p2>;

	status = "okay";
};

&pcie0 {
	perst-gpios = <&tlmm 2 GPIO_ACTIVE_LOW>;
	pinctrl-0 = <&pcie0_reset_n>, <&pcie0_wake_n>;
	pinctrl-names = "default";

	iommu-map = <0x0   &apps_smmu 0x1400 0x1>,
		<0x100 &apps_smmu 0x1401 0x1>,
		<0x200 &apps_smmu 0x1402 0x1>,
		<0x300 &apps_smmu 0x1403 0x1>,
		<0x400 &apps_smmu 0x1404 0x1>,
		<0x500 &apps_smmu 0x1405 0x1>,
		<0x600 &apps_smmu 0x1406 0x1>,
		<0x700 &apps_smmu 0x1407 0x1>,
		<0x800 &apps_smmu 0x1408 0x1>,
		<0x900 &apps_smmu 0x1409 0x1>,
		<0xa00 &apps_smmu 0x140a 0x1>,
		<0xb00 &apps_smmu 0x140b 0x1>,
		<0xc00 &apps_smmu 0x140c 0x1>,
		<0xd00 &apps_smmu 0x140d 0x1>,
		<0xe00 &apps_smmu 0x140e 0x1>,
		<0xf00 &apps_smmu 0x140f 0x1>;

	status = "okay";
};

&pcie1 {
	perst-gpios = <&tlmm 2 GPIO_ACTIVE_LOW>;

	pinctrl-0 = <&pcie1_reset_n>, <&pcie1_wake_n>;
	pinctrl-names = "default";

	iommu-map = <0x0 &apps_smmu 0x1c80 0x1>,
		    <0x100 &apps_smmu 0x1c81 0x1>,
		    <0x208 &apps_smmu 0x1c84 0x1>,
		    <0x210 &apps_smmu 0x1c85 0x1>,
		    <0x218 &apps_smmu 0x1c86 0x1>,
		    <0x300 &apps_smmu 0x1c87 0x1>,
		    <0x400 &apps_smmu 0x1c88 0x1>,
		    <0x500 &apps_smmu 0x1c89 0x1>,
		    <0x501 &apps_smmu 0x1c90 0x1>;

	status = "okay";
};

&pcie1_phy {
	vdda-phy-supply = <&vreg_l10c_0p88>;
	vdda-pll-supply = <&vreg_l6b_1p2>;

	status = "okay";
};
